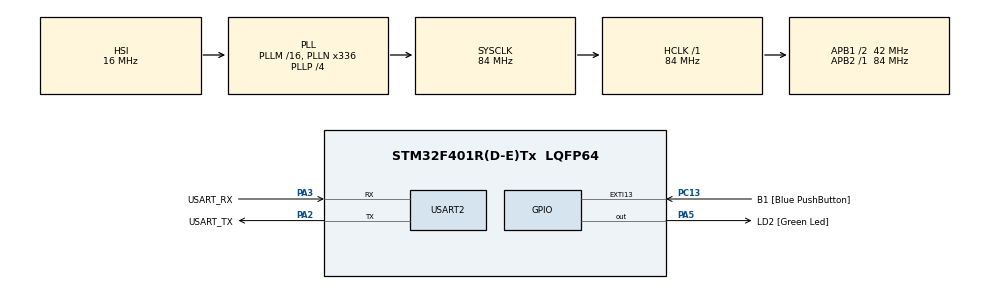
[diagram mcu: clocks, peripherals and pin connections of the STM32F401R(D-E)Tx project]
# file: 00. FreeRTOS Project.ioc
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Mcu.Family=STM32F4
Mcu.Name=STM32F401R(D-E)Tx
Mcu.Package=LQFP64
NVIC.PriorityGroup=NVIC_PRIORITYGROUP_4
NVIC.TIM5_IRQn=true\:15\:0\:false\:false\:true\:false\:true\:true
NVIC.TimeBase=TIM5_IRQn
NVIC.TimeBaseIP=TIM5
PA13.GPIO_Label=TMS
PA13.Mode=Trace_Asynchronous_SW
PA13.Signal=SYS_JTMS-SWDIO
PA14.GPIO_Label=TCK
PA14.Mode=Trace_Asynchronous_SW
PA14.Signal=SYS_JTCK-SWCLK
PA2.GPIO_Label=USART_TX
PA2.GPIO_Mode=GPIO_MODE_AF_PP
PA2.GPIO_PuPd=GPIO_NOPULL
PA2.GPIO_Speed=GPIO_SPEED_FREQ_LOW
PA2.Mode=Asynchronous
PA2.Signal=USART2_TX
PA3.GPIO_Label=USART_RX
PA3.GPIO_Mode=GPIO_MODE_AF_PP
PA3.GPIO_PuPd=GPIO_NOPULL
PA3.GPIO_Speed=GPIO_SPEED_FREQ_LOW
PA3.Mode=Asynchronous
PA3.Signal=USART2_RX
PA5.GPIO_Label=LD2 [Green Led]
PA5.GPIO_Mode=GPIO_MODE_OUTPUT_PP
PA5.GPIO_PuPd=GPIO_NOPULL
PA5.GPIO_Speed=GPIO_SPEED_FREQ_LOW
PA5.Signal=GPIO_Output
PB3.GPIO_Label=SWO
PB3.Mode=Trace_Asynchronous_SW
PB3.Signal=SYS_JTDO-SWO
PC13-ANTI_TAMP.GPIO_Label=B1 [Blue PushButton]
PC13-ANTI_TAMP.GPIO_ModeDefaultEXTI=GPIO_MODE_IT_FALLING
PC13-ANTI_TAMP.GPIO_PuPd=GPIO_NOPULL
PC13-ANTI_TAMP.Signal=GPXTI13
PC14-OSC32_IN.Mode=LSE-External-Oscillator
PC14-OSC32_IN.Signal=RCC_OSC32_IN
PC15-OSC32_OUT.Mode=LSE-External-Oscillator
PC15-OSC32_OUT.Signal=RCC_OSC32_OUT
PH0\ -\ OSC_IN.Mode=HSE-External-Clock-Source
PH0\ -\ OSC_IN.Signal=RCC_OSC_IN
PH1\ -\ OSC_OUT.Mode=HSE-External-Clock-Source
PH1\ -\ OSC_OUT.Signal=RCC_OSC_OUT
ProjectManager.HeapSize=0x200
ProjectManager.StackSize=0x400
ProjectManager.TargetToolchain=STM32CubeIDE
RCC.48MHZClocksFreq_Value=48000000
RCC.AHBFreq_Value=84000000
RCC.APB1CLKDivider=RCC_HCLK_DIV2
RCC.APB1Freq_Value=42000000
RCC.APB1TimFreq_Value=84000000
RCC.APB2Freq_Value=84000000
RCC.APB2TimFreq_Value=84000000
RCC.CortexFreq_Value=84000000
RCC.HCLKFreq_Value=84000000
RCC.HSE_VALUE=8000000
RCC.HSI_VALUE=16000000
RCC.PLLN=336
RCC.PLLP=RCC_PLLP_DIV4
RCC.PLLQ=7
RCC.SYSCLKFreq_VALUE=84000000
RCC.SYSCLKSource=RCC_SYSCLKSOURCE_PLLCLK
RCC.VCOOutputFreq_Value=336000000
USART2.VirtualMode=VM_ASYNC
VP_SYS_VS_tim5.Mode=TIM5
board=NUCLEO-F401RE

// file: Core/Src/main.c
/* USER CODE BEGIN Header */
/* USER CODE END Header */
#include "main.h"

/* USER CODE BEGIN Includes */
#include "FreeRTOS.h"
#include "task.h"
#include <stdio.h>

/* USER CODE END Includes */

UART_HandleTypeDef huart2;

/* USER CODE BEGIN PV */
TaskHandle_t task1_handle;
TaskHandle_t task2_handle;
/* USER CODE END PV */

void SystemClock_Config(void);
static void MX_GPIO_Init(void);
static void MX_USART2_UART_Init(void);
/* USER CODE BEGIN PFP */

/* Only needed if using GCC without semihosting */
#ifdef __GNUC__
#define PUTCHAR_PROTOTYPE int __io_putchar(int ch)
#else
#define PUTCHAR_PROTOTYPE int fputc(int ch, FILE *f)
#endif

static void task1_handler(void *parameter);
static void task2_handler(void *parameter);
/* USER CODE END PFP */

/* USER CODE BEGIN 0 */
PUTCHAR_PROTOTYPE
{
    HAL_UART_Transmit(&huart2, (uint8_t *)&ch, 1, HAL_MAX_DELAY);
    return ch;
}
/* USER CODE END 0 */

int main(void)
{

  /* USER CODE BEGIN 1 */
  BaseType_t status;
  /* USER CODE END 1 */

  /* MCU Configuration--------------------------------------------------------*/

  /* Reset of all peripherals, Initializes the Flash interface and the Systick. */
  HAL_Init();

  /* Configure the system clock */
  SystemClock_Config();

  /* Initialize all configured peripherals */
  MX_GPIO_Init();
  MX_USART2_UART_Init();
  /* USER CODE BEGIN 2 */
  setvbuf(stdout, NULL, _IONBF, 0);   /* disable buffering — flush every character immediately */

  status = xTaskCreate(task1_handler, "Task-1", 200, "Hello World from Task-1", 2, &task1_handle);
  configASSERT(status == pdPASS);

  status = xTaskCreate(task2_handler, "Task-2", 200, "Hello World from Task-2", 2, &task2_handle);
  configASSERT(status == pdPASS);

  /* USER CODE END 2 */

  /* Infinite loop */
  /* USER CODE BEGIN WHILE */
  /* Scheduler which schedules the tasks */
  vTaskStartScheduler();

  for(;;);
    /* USER CODE END WHILE */

}

void SystemClock_Config(void)
{
  RCC_OscInitTypeDef RCC_OscInitStruct = {0};
  RCC_ClkInitTypeDef RCC_ClkInitStruct = {0};

  /** Configure the main internal regulator output voltage
  */
  __HAL_RCC_PWR_CLK_ENABLE();
  __HAL_PWR_VOLTAGESCALING_CONFIG(PWR_REGULATOR_VOLTAGE_SCALE2);

  /** Initializes the RCC Oscillators according to the specified parameters
  * in the RCC_OscInitTypeDef structure.
  */
  RCC_OscInitStruct.OscillatorType = RCC_OSCILLATORTYPE_HSI;
  RCC_OscInitStruct.HSIState = RCC_HSI_ON;
  RCC_OscInitStruct.HSICalibrationValue = RCC_HSICALIBRATION_DEFAULT;
  RCC_OscInitStruct.PLL.PLLState = RCC_PLL_ON;
  RCC_OscInitStruct.PLL.PLLSource = RCC_PLLSOURCE_HSI;
  RCC_OscInitStruct.PLL.PLLM = 16;
  RCC_OscInitStruct.PLL.PLLN = 336;
  RCC_OscInitStruct.PLL.PLLP = RCC_PLLP_DIV4;
  RCC_OscInitStruct.PLL.PLLQ = 7;
  if (HAL_RCC_OscConfig(&RCC_OscInitStruct) != HAL_OK)
  {
    Error_Handler();
  }

  /** Initializes the CPU, AHB and APB buses clocks
  */
  RCC_ClkInitStruct.ClockType = RCC_CLOCKTYPE_HCLK|RCC_CLOCKTYPE_SYSCLK
                              |RCC_CLOCKTYPE_PCLK1|RCC_CLOCKTYPE_PCLK2;
  RCC_ClkInitStruct.SYSCLKSource = RCC_SYSCLKSOURCE_PLLCLK;
  RCC_ClkInitStruct.AHBCLKDivider = RCC_SYSCLK_DIV1;
  RCC_ClkInitStruct.APB1CLKDivider = RCC_HCLK_DIV2;
  RCC_ClkInitStruct.APB2CLKDivider = RCC_HCLK_DIV1;

  if (HAL_RCC_ClockConfig(&RCC_ClkInitStruct, FLASH_LATENCY_2) != HAL_OK)
  {
    Error_Handler();
  }
}

static void MX_USART2_UART_Init(void)
{

  huart2.Instance = USART2;
  huart2.Init.BaudRate = 115200;
  huart2.Init.WordLength = UART_WORDLENGTH_8B;
  huart2.Init.StopBits = UART_STOPBITS_1;
  huart2.Init.Parity = UART_PARITY_NONE;
  huart2.Init.Mode = UART_MODE_TX_RX;
  huart2.Init.HwFlowCtl = UART_HWCONTROL_NONE;
  huart2.Init.OverSampling = UART_OVERSAMPLING_16;
  if (HAL_UART_Init(&huart2) != HAL_OK)
  {
    Error_Handler();
  }

}

static void MX_GPIO_Init(void)
{
  GPIO_InitTypeDef GPIO_InitStruct = {0};

  /* GPIO Ports Clock Enable */
  __HAL_RCC_GPIOC_CLK_ENABLE();
  __HAL_RCC_GPIOH_CLK_ENABLE();
  __HAL_RCC_GPIOA_CLK_ENABLE();
  __HAL_RCC_GPIOB_CLK_ENABLE();

  /*Configure GPIO pin Output Level */
  HAL_GPIO_WritePin(LD2_GPIO_Port, LD2_Pin, GPIO_PIN_RESET);

  /*Configure GPIO pin : B1_Pin */
  GPIO_InitStruct.Pin = B1_Pin;
  GPIO_InitStruct.Mode = GPIO_MODE_IT_FALLING;
  GPIO_InitStruct.Pull = GPIO_NOPULL;
  HAL_GPIO_Init(B1_GPIO_Port, &GPIO_InitStruct);

  /*Configure GPIO pin : LD2_Pin */
  GPIO_InitStruct.Pin = LD2_Pin;
  GPIO_InitStruct.Mode = GPIO_MODE_OUTPUT_PP;
  GPIO_InitStruct.Pull = GPIO_NOPULL;
  GPIO_InitStruct.Speed = GPIO_SPEED_FREQ_LOW;
  HAL_GPIO_Init(LD2_GPIO_Port, &GPIO_InitStruct);

}

/* USER CODE BEGIN 4 */
static void task1_handler(void *parameters)
{
    while (1)
    {
        printf("%s\n", (char *)parameters);
    }
}

static void task2_handler(void *parameters)
{
    while (1)
    {
        printf("%s\n", (char *)parameters);
    }
}
/* USER CODE END 4 */

void HAL_TIM_PeriodElapsedCallback(TIM_HandleTypeDef *htim)
{
  if (htim->Instance == TIM5)
  {
    HAL_IncTick();
  }
}

void Error_Handler(void)
{
}
